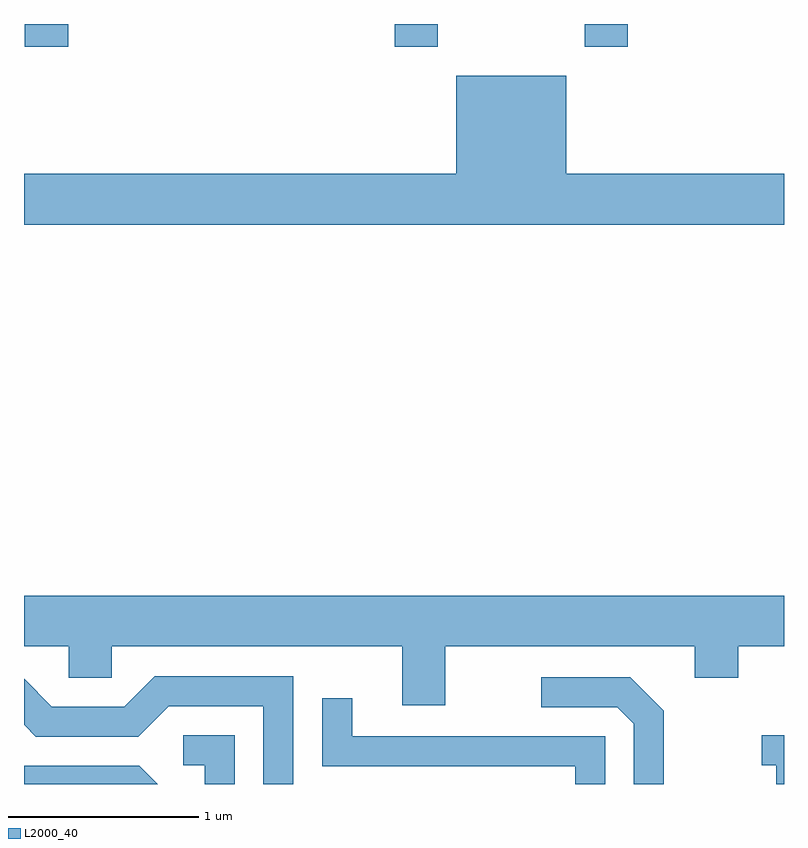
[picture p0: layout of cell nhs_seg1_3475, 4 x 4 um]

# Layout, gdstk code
import gdstk
lib = gdstk.Library(unit=1e-6, precision=1e-09)
def R(c, l, rs):  # rectangles x0, y0, x1, y1
    for r in rs: c.add(gdstk.rectangle(r[:2], r[2:], *l))
def P(c, l, *ps):  # polygons
    for p in ps: c.add(gdstk.Polygon(p, *l))
L2000_40 = (2000, 40)

nhs_seg1_3475 = lib.new_cell('nhs_seg1_3475')
R(nhs_seg1_3475, L2000_40, [(289.616,931.591,289.844,931.712), (291.561,931.591,291.789,931.712), (292.561,931.591,292.789,931.712)])
P(nhs_seg1_3475, L2000_40, [(293.611,930.924),(292.464,930.924),(292.464,931.439),(291.886,931.439),(291.886,930.924),(289.611,930.924),(289.611,930.656),(293.611,930.656)],
  [(291.829,928.436),(293.141,928.436),(293.141,928.271),(293.369,928.271),(293.369,928.436),(293.611,928.436),(293.611,928.704),(289.611,928.704),(289.611,928.436),(289.846,928.436),(289.846,928.271),(290.074,928.271),(290.074,928.436),(291.601,928.436),(291.601,928.126),(291.829,928.126)],
  [(291.029,928.279),(290.299,928.279),(290.139,928.119),(289.757,928.119),(289.611,928.265),(289.611,928.024),(289.674,927.961),(290.212,927.961),(290.372,928.121),(290.871,928.121),(290.871,927.712),(291.029,927.712)],
  [(292.979,928.097),(292.802,928.274),(292.333,928.274),(292.333,928.116),(292.734,928.116),(292.821,928.029),(292.821,927.712),(292.979,927.712)],
  [(292.669,927.964),(291.339,927.964),(291.339,928.163),(291.181,928.163),(291.181,927.806),(292.511,927.806),(292.511,927.712),(292.669,927.712)],
  [(293.611,927.969),(293.493,927.969),(293.493,927.811),(293.571,927.811),(293.571,927.712),(293.611,927.712)],
  [(290.719,927.969),(290.448,927.969),(290.448,927.811),(290.561,927.811),(290.561,927.712),(290.719,927.712)],
  [(290.217,927.809),(289.611,927.809),(289.611,927.712),(290.314,927.712)])

lib.write_gds('nhs_seg1_3475.gds')
